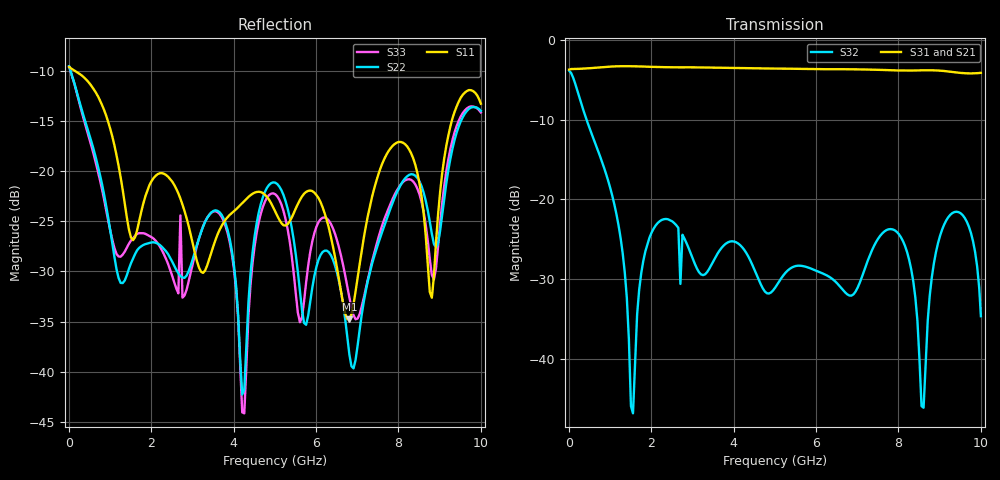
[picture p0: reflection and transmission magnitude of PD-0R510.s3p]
! MARKI MICROWAVE INC.
! Email:  info@markimicrowave.com  Phone:  408-778-4200
! Model Number:  PD0R510  Date:  07/11
! Filename:		PD-0R510.S3P  Version: 1.0
! Description:  3-port S-parameter data for Power Divider PD0R510
! Frequency Range: 	10 MHz to 10 GHz
! Port Configuration:	PORT 1: COMMON, PORT 2 and Port 3: Output
! S3P File: Measurements: Mag<S11> Ang<S11> Mag<S12> Ang<S12> Mag<S13> Ang<S13>! row 1
!  Mag<S21> Ang<S21> Mag<S22> Ang<S22> Mag<S23> Ang<S23>! row 2
!  Mag<S31> Ang<S31> Mag<S32> Ang<S32> Mag<S33> Ang<S33>! row 3
# GHz S DB R 50
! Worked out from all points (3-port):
!   198 points, 10 MHz to 10 GHz, reference 50 ohm
!   strongest paths, dB at 10 MHz, 2.56 GHz, 5.06 GHz, 7.56 GHz, 10 GHz:
!     S31: -3.7, -3.4, -3.6, -3.7, -4.1
!     S21: -3.7, -3.4, -3.6, -3.8, -4.2
!     S32: -3.8, -23.0, -30.7, -24.6, -34.7
!   lowest |S11| = -34.8 dB at 6.81 GHz (marker M1), VSWR 1.04, Z = 50.9 + j1.59 ohm
!   |S11| at or under -10 dB: 142.7 MHz to end of sweep
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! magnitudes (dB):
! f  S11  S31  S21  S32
! 10 MHz  -9.6  -3.7  -3.7  -3.8
! 1.21 GHz  -19.5  -3.3  -3.3  -23.3
! 1.56 GHz  -26.9  -3.3  -3.3  -46.9
! 2.21 GHz  -20.2  -3.4  -3.4  -22.7
! 3.71 GHz  -25.5  -3.5  -3.5  -26.1
! 4.26 GHz  -23.0  -3.5  -3.5  -26.3
! 5.01 GHz  -24.0  -3.6  -3.6  -31.1
! 6.81 GHz  -34.8  -3.7  -3.7  -32.1
! 8.61 GHz  -24.1  -3.8  -3.9  -46.1
! 10 GHz  -13.3  -4.1  -4.2  -34.7
